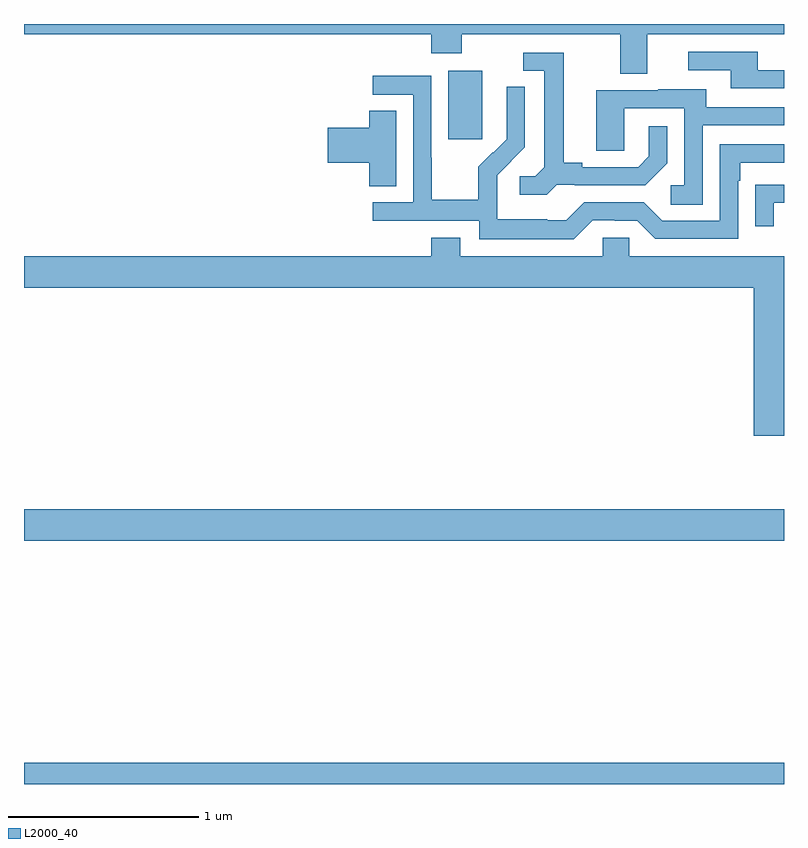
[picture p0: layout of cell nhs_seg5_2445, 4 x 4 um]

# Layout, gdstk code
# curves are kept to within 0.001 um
import gdstk
lib = gdstk.Library(unit=1e-6, precision=1e-09)
def R(c, l, rs):  # rectangles x0, y0, x1, y1
    for r in rs: c.add(gdstk.rectangle(r[:2], r[2:], *l))
def P(c, l, *ps):  # polygons
    for p in ps: c.add(gdstk.Polygon(p, *l))
L2000_40 = (2000, 40)

nhs_seg5_2445 = lib.new_cell('nhs_seg5_2445')
R(nhs_seg5_2445, L2000_40, [(253,868.799,257,868.912), (253,870.08,257,870.244), (255.233,872.193,255.412,872.554)])
P(nhs_seg5_2445, L2000_40, [(256.279,872.744),(257,872.744),(257,872.799),(253,872.799),(253,872.744),(255.143,872.744),(255.143,872.645),(255.303,872.645),(255.303,872.744),(256.139,872.744),(256.139,872.536),(256.279,872.536)],
  [(257,872.556),(256.861,872.556),(256.861,872.652),(256.497,872.652),(256.497,872.556),(256.721,872.556),(256.721,872.46),(257,872.46)],
  [(255.804,871.953),(255.898,871.953),(255.898,871.95),(256.27,871.95),(256.386,872.066),(256.386,872.26),(256.289,872.26),(256.289,872.103),(256.232,872.046),(255.937,872.046),(255.937,872.069),(255.841,872.069),(255.841,872.649),(255.627,872.649),(255.627,872.553),(255.737,872.553),(255.737,872.045),(255.69,871.998),(255.609,871.998),(255.609,871.901),(255.752,871.901)],
  [(255.993,871.767),(256.109,871.767),(256.109,871.764),(256.227,871.764),(256.323,871.668),(256.758,871.668),(256.758,871.973),(256.771,871.973),(256.771,872.07),(257,872.07),(257,872.166),(256.662,872.166),(256.662,871.764),(256.359,871.764),(256.263,871.86),(255.948,871.86),(255.855,871.767),(255.755,871.767),(255.755,871.771),(255.492,871.771),(255.492,871.905),(255.49,871.905),(255.49,872.002),(255.636,872.15),(255.636,872.468),(255.54,872.468),(255.54,872.314),(255.542,872.314),(255.542,872.192),(255.471,872.121),(255.468,872.124),(255.391,872.047),(255.391,871.873),(255.147,871.873),(255.147,872.096),(255.144,872.096),(255.144,872.526),(254.835,872.526),(254.835,872.427),(255.048,872.427),(255.048,871.86),(254.835,871.86),(254.835,871.764),(255.396,871.764),(255.396,871.667),(255.893,871.667)],
  [(256.572,872.265),(257,872.265),(257,872.361),(256.591,872.361),(256.591,872.455),(256.337,872.455),(256.337,872.451),(256.013,872.451),(256.013,872.131),(256.158,872.131),(256.158,872.355),(256.476,872.355),(256.476,871.95),(256.404,871.95),(256.404,871.849),(256.572,871.849)],
  [(254.959,872.342),(254.816,872.342),(254.816,872.252),(254.598,872.252),(254.598,872.069),(254.816,872.069),(254.816,871.945),(254.959,871.945)],
  [(256.945,871.857),(257,871.857),(257,871.953),(256.951,871.953),(256.951,871.952),(256.849,871.952),(256.849,871.734),(256.945,871.734)],
  [(257,871.576),(256.185,871.576),(256.185,871.674),(256.047,871.674),(256.047,871.576),(255.295,871.576),(255.295,871.675),(255.143,871.675),(255.143,871.576),(253,871.576),(253,871.412),(256.841,871.412),(256.841,870.633),(257,870.633)])

lib.write_gds('nhs_seg5_2445.gds')
